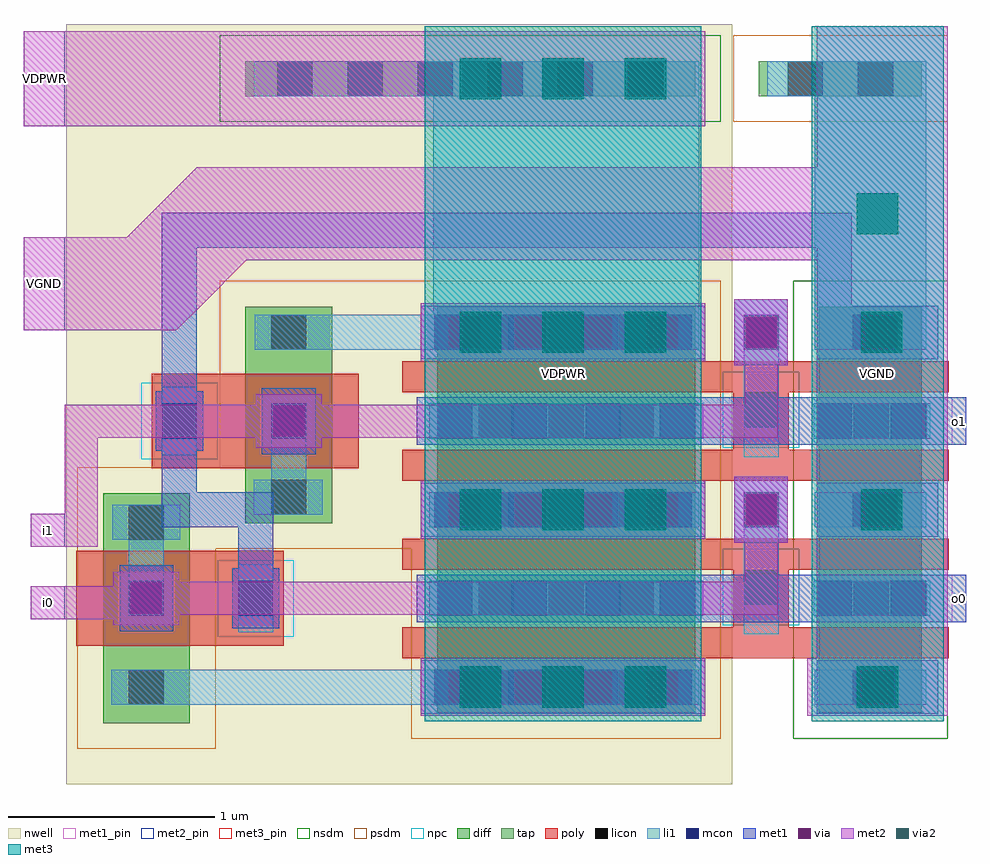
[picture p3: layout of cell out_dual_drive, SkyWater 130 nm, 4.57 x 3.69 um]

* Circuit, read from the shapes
.subckt out_dual_drive VDPWR VGND i0 i1 o0 o1
XM1 o0 i0 VGND VGND sky130_fd_pr__nfet_01v8 w=0.5 l=0.15 m=2
XM2 o1 i1 VGND VGND sky130_fd_pr__nfet_01v8 w=0.5 l=0.15 m=2
XM3 i0 VGND VDPWR VDPWR sky130_fd_pr__pfet_01v8 w=0.42 l=0.46
XM4 VDPWR VGND i1 VDPWR sky130_fd_pr__pfet_01v8 w=0.42 l=0.46
XM5 o0 i0 VDPWR VDPWR sky130_fd_pr__pfet_01v8 w=1.25 l=0.15 m=2
XM6 o1 i1 VDPWR VDPWR sky130_fd_pr__pfet_01v8 w=1.25 l=0.15 m=2
.ends

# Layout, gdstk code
import gdstk
lib = gdstk.Library(unit=1e-6, precision=1e-09)
def R(c, l, rs):  # rectangles x0, y0, x1, y1
    for r in rs: c.add(gdstk.rectangle(r[:2], r[2:], *l))
def A(c, l, x, y, w, h, nx, ny, dx, dy):  # array of equal rectangles
    R(c, l, [(x+i*dx, y+j*dy, x+i*dx+w, y+j*dy+h) for i in range(nx) for j in range(ny)])
def P(c, l, *ps):  # polygons
    for p in ps: c.add(gdstk.Polygon(p, *l))
nwell = (64, 20)
diff = (65, 20)
tap = (65, 44)
poly = (66, 20)
licon = (66, 44)
li1 = (67, 20)
mcon = (67, 44)
met1_pin = (68, 16)
met1 = (68, 20)
via = (68, 44)
met2_pin = (69, 16)
met2 = (69, 20)
via2 = (69, 44)
met3_pin = (70, 16)
met3 = (70, 20)
nsdm = (93, 44)
psdm = (94, 20)
npc = (95, 20)

out_dual_drive = lib.new_cell('out_dual_drive')
R(out_dual_drive, nwell, [(0.005,-0.47,3.235,3.215)])
R(out_dual_drive, diff, [(0.185,-0.175,0.605,0.94), (1.805,-0.125,3.055,1.845), (3.655,-0.125,4.155,1.845), (0.875,0.795,1.295,1.845)])
R(out_dual_drive, tap, [(0.875,2.865,3.055,3.035), (3.365,2.865,4.155,3.035)])
A(out_dual_drive, poly, 1.635, 0.14, 2.65, 0.15, 1, 4, 0, 0.43)
R(out_dual_drive, poly, [(0.055,0.2,1.06,0.66), (3.24,0.29,3.51,0.57), (0.42,1.06,1.425,1.52), (3.24,1.15,3.51,1.43)])
A(out_dual_drive, licon, 2.005, -0.085, 0.17, 0.17, 3, 5, 0.34, 0.43)
A(out_dual_drive, licon, 3.82, -0.085, 0.17, 0.17, 1, 3, 0, 0.86)
A(out_dual_drive, licon, 1.03, 2.865, 0.17, 0.17, 6, 1, 0.34, 0)
R(out_dual_drive, licon, [(0.31,-0.085,0.48,0.085), (0.84,0.345,1.01,0.515), (3.825,0.345,3.995,0.515), (3.29,0.4,3.46,0.57), (0.31,0.715,0.48,0.885), (1,0.835,1.17,1.005), (0.47,1.205,0.64,1.375), (3.825,1.205,3.995,1.375), (3.29,1.26,3.46,1.43), (1,1.635,1.17,1.805), (3.505,2.865,3.675,3.035), (3.845,2.865,4.015,3.035)])
R(out_dual_drive, li1, [(0.225,-0.085,3.075,0.085), (3.635,-0.085,4.175,0.085), (3.29,0.255,3.46,0.945), (0.84,0.265,1.01,0.595), (0.31,0.345,0.48,0.715), (1.765,0.345,3.095,0.515), (3.63,0.345,4.195,0.515), (0.23,0.715,0.56,0.885), (1.765,0.775,3.075,0.945), (3.635,0.775,4.175,0.945), (0.915,0.835,1.25,1.005), (1,1.005,1.17,1.375), (3.29,1.115,3.46,1.805), (0.47,1.125,0.64,1.455), (1.765,1.205,3.095,1.375), (3.63,1.205,4.195,1.375), (0.92,1.635,3.075,1.805), (3.635,1.635,4.175,2.865), (1.785,1.805,3.075,2.865), (0.915,2.865,3.075,3.035), (3.405,2.865,4.175,3.035)])
A(out_dual_drive, mcon, 1.79, -0.085, 0.17, 0.17, 4, 3, 0.36, 0.86)
A(out_dual_drive, mcon, 3.855, -0.085, 0.17, 0.17, 1, 3, 0, 0.86)
A(out_dual_drive, mcon, 1.805, 0.345, 0.17, 0.17, 4, 2, 0.36, 0.86)
R(out_dual_drive, mcon, [(0.31,0.345,0.48,0.515), (0.84,0.345,1.01,0.515), (3.645,0.345,3.815,0.515), (4.005,0.345,4.175,0.515), (3.29,0.775,3.46,0.945), (0.47,1.205,0.64,1.375), (1,1.205,1.17,1.375), (3.645,1.205,3.815,1.375), (4.005,1.205,4.175,1.375), (3.29,1.635,3.46,1.805)])
R(out_dual_drive, met1_pin, [(4.3,0.315,4.37,0.545), (4.3,1.175,4.37,1.405)])
A(out_dual_drive, met1, 1.725, -0.13, 1.38, 0.26, 1, 3, 0, 0.86)
A(out_dual_drive, met1, 3.645, -0.13, 0.59, 0.26, 1, 3, 0, 0.86)
R(out_dual_drive, met1, [(0.265,0.27,0.525,0.59), (0.81,0.285,1.04,0.575), (1.705,0.315,4.37,0.545), (0.84,0.575,1.01,0.775), (3.245,0.7,3.505,1.02), (0.47,0.775,1.01,0.945), (0.47,0.945,0.64,1.145), (0.955,1.13,1.215,1.45), (0.44,1.145,0.67,1.435), (1.705,1.175,4.37,1.405), (0.47,1.435,0.64,2.13), (3.245,1.56,3.505,1.88), (3.645,1.85,3.815,2.13), (0.47,2.13,3.815,2.3)])
A(out_dual_drive, via, 1.86, -0.075, 0.15, 0.15, 4, 3, 0.32, 0.86)
R(out_dual_drive, via, [(3.865,-0.075,4.015,0.075), (0.32,0.355,0.47,0.505), (3.3,0.785,3.45,0.935), (3.885,0.785,4.035,0.935), (1.01,1.215,1.16,1.365), (3.3,1.645,3.45,1.795), (3.885,1.645,4.035,1.795)])
R(out_dual_drive, met2_pin, [(-0.165,0.33,0,0.49), (-0.165,0.68,0,0.84), (-0.2,1.73,0,2.18), (-0.2,2.72,0,3.18)])
A(out_dual_drive, met2, 1.725, -0.14, 1.38, 0.28, 1, 3, 0, 0.86)
R(out_dual_drive, met2, [(3.6,-0.14,4.28,0.14), (3.645,0.14,4.28,2.07), (0.235,0.3,0.555,0.33), (-0.165,0.33,0.555,0.35), (-0.165,0.35,3.455,0.49), (0.235,0.49,3.455,0.51), (0.235,0.51,0.555,0.56), (3.295,0.51,3.455,0.7), (-0.165,0.68,0.16,0.84), (3.245,0.7,3.505,1.02), (0,0.84,0.16,1.21), (0.925,1.16,1.245,1.21), (0,1.21,3.455,1.37), (0.925,1.37,1.245,1.42), (3.295,1.37,3.455,1.56), (3.245,1.56,3.505,1.88), (-0.2,1.73,0.54,1.85), (-0.2,1.85,0.66,2.07), (-0.2,2.07,4.28,2.18), (0.64,2.18,4.28,2.52), (3.645,2.52,4.28,3.205), (-0.2,2.72,3.105,3.18)])
P(out_dual_drive, met2, [(0.3,2.18),(0.64,2.18),(0.64,2.52)],
  [(0.66,1.85),(0.66,2.07),(0.88,2.07)],
  [(0.54,1.73),(0.54,1.85),(0.66,1.85)])
A(out_dual_drive, via2, 1.915, -0.1, 0.2, 0.2, 3, 3, 0.4, 0.86)
A(out_dual_drive, via2, 1.915, 2.85, 0.2, 0.2, 3, 1, 0.4, 0)
R(out_dual_drive, via2, [(3.84,-0.1,4.04,0.1), (3.86,0.76,4.06,0.96), (3.86,1.62,4.06,1.82), (3.84,2.195,4.04,2.395)])
R(out_dual_drive, met3_pin, [(1.745,-0.165,3.085,3.205), (3.62,-0.165,4.26,3.205)])
R(out_dual_drive, met3, [(1.745,-0.165,3.085,3.205), (3.62,-0.165,4.26,3.205)])
R(out_dual_drive, nsdm, [(3.53,-0.25,4.28,1.97), (0.75,2.74,3.18,3.16)])
R(out_dual_drive, psdm, [(0.06,-0.3,0.73,0.67), (1.68,-0.25,3.18,0.67), (0.06,0.67,3.18,1.065), (0.75,1.065,3.18,1.97), (3.24,2.74,4.28,3.16)])
R(out_dual_drive, npc, [(0.74,0.245,1.11,0.615), (3.19,0.3,3.56,0.67), (0.37,1.105,0.74,1.475), (3.19,1.16,3.56,1.53)])
out_dual_drive.add(gdstk.Label('VGND', (-0.1,1.955), layer=69, texttype=5))
out_dual_drive.add(gdstk.Label('VGND', (3.94,1.52), layer=70, texttype=5))
out_dual_drive.add(gdstk.Label('VDPWR', (-0.1,2.95), layer=69, texttype=5))
out_dual_drive.add(gdstk.Label('VDPWR', (2.415,1.52), layer=70, texttype=5))
out_dual_drive.add(gdstk.Label('i0', (-0.082,0.41), layer=69, texttype=5))
out_dual_drive.add(gdstk.Label('i1', (-0.082,0.76), layer=69, texttype=5))
out_dual_drive.add(gdstk.Label('o0', (4.335,0.43), layer=68, texttype=5))
out_dual_drive.add(gdstk.Label('o1', (4.335,1.29), layer=68, texttype=5))

lib.write_gds('out_dual_drive.gds')
